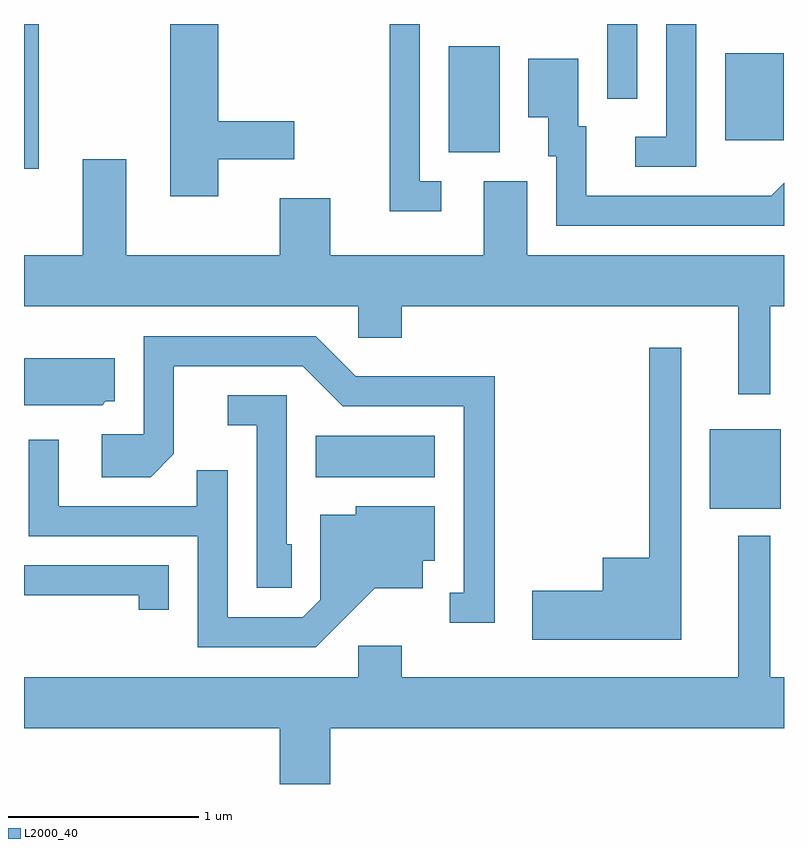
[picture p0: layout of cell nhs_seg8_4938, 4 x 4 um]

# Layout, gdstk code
import gdstk
lib = gdstk.Library(unit=1e-6, precision=1e-09)
def R(c, l, rs):  # rectangles x0, y0, x1, y1
    for r in rs: c.add(gdstk.rectangle(r[:2], r[2:], *l))
def P(c, l, *ps):  # polygons
    for p in ps: c.add(gdstk.Polygon(p, *l))
L2000_40 = (2000, 40)

nhs_seg8_4938 = lib.new_cell('nhs_seg8_4938')
R(nhs_seg8_4938, L2000_40, [(337.221,1839.791,337.594,1840.209), (335.146,1839.956,335.774,1840.174), (333.611,1841.581,333.689,1842.342), (335.846,1841.666,336.114,1842.224), (337.301,1841.731,337.609,1842.189), (336.681,1841.948,336.839,1842.342)])
P(nhs_seg8_4938, L2000_40, [(334.634,1841.631),(335.034,1841.631),(335.034,1841.829),(334.634,1841.829),(334.634,1842.342),(334.381,1842.342),(334.381,1841.436),(334.634,1841.436)],
  [(337.149,1842.342),(336.991,1842.342),(336.991,1841.749),(336.828,1841.749),(336.828,1841.591),(337.149,1841.591)],
  [(335.808,1841.514),(335.694,1841.514),(335.694,1842.342),(335.536,1842.342),(335.536,1841.356),(335.808,1841.356)],
  [(337.611,1841.506),(337.544,1841.439),(336.569,1841.439),(336.569,1841.804),(336.529,1841.804),(336.529,1842.159),(336.266,1842.159),(336.266,1841.851),(336.371,1841.851),(336.371,1841.646),(336.411,1841.646),(336.411,1841.281),(337.611,1841.281)],
  [(337.539,1840.856),(337.611,1840.856),(337.611,1841.124),(336.259,1841.124),(336.259,1841.514),(336.031,1841.514),(336.031,1841.124),(335.224,1841.124),(335.224,1841.424),(334.956,1841.424),(334.956,1841.124),(334.149,1841.124),(334.149,1841.629),(333.921,1841.629),(333.921,1841.124),(333.611,1841.124),(333.611,1840.856),(335.371,1840.856),(335.371,1840.691),(335.599,1840.691),(335.599,1840.856),(337.371,1840.856),(337.371,1840.393),(337.539,1840.393)],
  [(336.089,1840.489),(335.357,1840.489),(335.147,1840.699),(334.241,1840.699),(334.241,1840.184),(334.021,1840.184),(334.021,1839.956),(334.277,1839.956),(334.399,1840.079),(334.399,1840.541),(335.079,1840.541),(335.289,1840.331),(335.926,1840.331),(335.926,1839.349),(335.853,1839.349),(335.853,1839.191),(336.089,1839.191)],
  [(337.069,1840.638),(336.901,1840.638),(336.901,1839.534),(336.656,1839.534),(336.656,1839.359),(336.286,1839.359),(336.286,1839.101),(337.069,1839.101)],
  [(334.042,1840.356),(334.089,1840.356),(334.089,1840.584),(333.614,1840.584),(333.611,1840.581),(333.611,1840.336),(334.022,1840.336)],
  [(335.019,1839.604),(334.994,1839.604),(334.994,1840.389),(334.683,1840.389),(334.683,1840.231),(334.836,1840.231),(334.836,1839.376),(335.019,1839.376)],
  [(335.457,1839.371),(335.709,1839.371),(335.709,1839.516),(335.774,1839.516),(335.774,1839.804),(335.356,1839.804),(335.356,1839.759),(335.171,1839.759),(335.171,1839.312),(335.079,1839.219),(334.684,1839.219),(334.684,1839.993),(334.521,1839.993),(334.521,1839.804),(333.794,1839.804),(333.794,1840.153),(333.636,1840.153),(333.636,1839.646),(334.526,1839.646),(334.526,1839.061),(335.147,1839.061)],
  [(335.224,1838.636),(337.611,1838.636),(337.611,1838.904),(337.539,1838.904),(337.539,1839.648),(337.371,1839.648),(337.371,1838.904),(335.599,1838.904),(335.599,1839.069),(335.371,1839.069),(335.371,1838.904),(333.611,1838.904),(333.611,1838.636),(334.956,1838.636),(334.956,1838.342),(335.224,1838.342)],
  [(334.374,1839.494),(333.611,1839.494),(333.611,1839.336),(334.216,1839.336),(334.216,1839.258),(334.374,1839.258)])

lib.write_gds('nhs_seg8_4938.gds')
